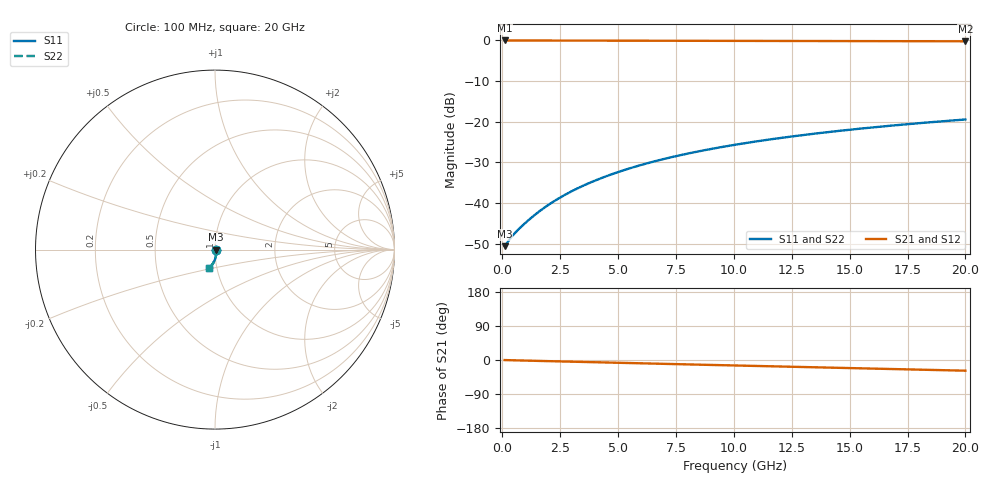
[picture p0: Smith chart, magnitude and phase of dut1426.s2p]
! Touchstone file exported from HFSS 2026.1.0
!  File:  C:/ffzhzh/LocalFiles/Ansys_Project_Files/temp_train_BSMRDL_1426_1783180305_18472.aedt
!  Generated:  11:52:48 PM Jul  4, 2026
!  Design:  BSMRDL
!  Project:  temp_train_BSMRDL_1426_1783180305_18472
! Variables:
!  h_bsmrdl = 5.58um
!  h_ox = 20um
!  h_rdl = 5um
!  h_sub = 80um
!  h_tmrdl = 5um
!  h_tsv = 80um
!  h_via = 3um
!  l_bsmrdl = 502.02um
!  l_sub = 902.02um
!  l_tmrdl = 200um
!  m_sub = 200um
!  pitch = 14um
!  r_tsv = 6um
!  s_tmrdl = 10um
!  w_bsmrdl = 11.31um
!  w_sub = 500um
!  w_tmrdl = 12um
!  x_tsv_center1 = 206um
!  x_tsv_center2 = 719.33um
!  x_tsv_center3 = 931.33um
!  x_tsv_center4 = 1444.66um
!  x_tsv_center5 = 1656.66um
!  x_tsv_center6 = 2169.99um
# GHz S MA R 50.000000
! Terminal data exported
! Port[1] = BSM_RDL1_1_T1
! Port[2] = BSM_RDL1_1_T2
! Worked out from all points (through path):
!   200 points, 100 MHz to 20 GHz, reference 50 ohm
!   highest |S21| = -0.03 dB at 100 MHz (marker M1); lowest = -0.2 dB at 20 GHz (marker M2)
!   group delay of S21, straight-line fit = 3.9 ps
!   lowest |S11| = -50.6 dB at 100 MHz (marker M3), VSWR 1.01, Z = 50.3 + j0.00184 ohm
!   |S11| at or under -10 dB: start of sweep to end of sweep
!   |S22| runs from -50.6 to -19.5 dB; largest |S21 - S12| = 3e-15
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0.1  0.002955 0.4  0.997 -0.2  0.997 -0.2  0.002955 0.4
! Gamma 0 0 0 0
! Port Impedance 50 0 50 0
0.4  0.003851 -11.5  0.9962 -0.7  0.9962 -0.7  0.003851 -11.5
0.6  0.004453 -22.0  0.9958 -0.9  0.9958 -0.9  0.004452 -22.0
1  0.005719 -38.2  0.9954 -1.5  0.9954 -1.5  0.005717 -38.2
1.5  0.007528 -50.6  0.995 -2.3  0.995 -2.3  0.007525 -50.6
1.9  0.009126 -56.9  0.9946 -2.9  0.9946 -2.9  0.009121 -57.0
2.4  0.01126 -62.4  0.9941 -3.6  0.9941 -3.6  0.01126 -62.4
2.9  0.01353 -66.2  0.9935 -4.3  0.9935 -4.3  0.01352 -66.3
3.5  0.01639 -69.7  0.9928 -5.2  0.9928 -5.2  0.01638 -69.7
4.2  0.01989 -72.8  0.9919 -6.2  0.9919 -6.2  0.01988 -72.9
5  0.02406 -75.7  0.9909 -7.4  0.9909 -7.4  0.02404 -75.8
5.9  0.0289 -78.6  0.9897 -8.6  0.9897 -8.6  0.02887 -78.7
6.8  0.03385 -81.2  0.9886 -9.9  0.9886 -9.9  0.03381 -81.3
7.5  0.03774 -83.0  0.9877 -10.9  0.9877 -10.9  0.03771 -83.2
8.3  0.04223 -85.0  0.9868 -12.0  0.9868 -12.0  0.04219 -85.2
9.2  0.0473 -87.1  0.9857 -13.3  0.9857 -13.3  0.04725 -87.3
10.1  0.05237 -89.1  0.9847 -14.5  0.9847 -14.5  0.05231 -89.3
11.7  0.06137 -92.5  0.9829 -16.8  0.9829 -16.8  0.0613 -92.7
13.4  0.07086 -95.8  0.9811 -19.1  0.9811 -19.1  0.07078 -96.1
15  0.0797 -98.8  0.9793 -21.3  0.9793 -21.3  0.0796 -99.1
16.7  0.08897 -101.8  0.9774 -23.7  0.9774 -23.7  0.08885 -102.1
20  0.1065 -107.3  0.9735 -28.2  0.9735 -28.2  0.1063 -107.7
